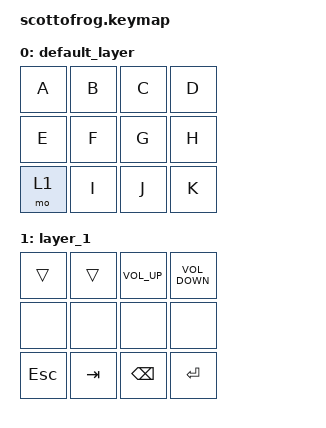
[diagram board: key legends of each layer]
/ {
    keymap {
        compatible = "zmk,keymap";

        default_layer {
            bindings = <
                &kp A &kp B &kp C &kp D
                &kp E &kp F &kp G &kp H
                &mo 1 &kp I &kp J &kp K
            >;
        };

        layer_1 {
            bindings = <
                &trans &trans &kp VOL_UP &kp VOL_DOWN
                &none &none &none &none
                &kp ESC &kp TAB &kp BSPC &kp RET
            >;
        };
    };
};
